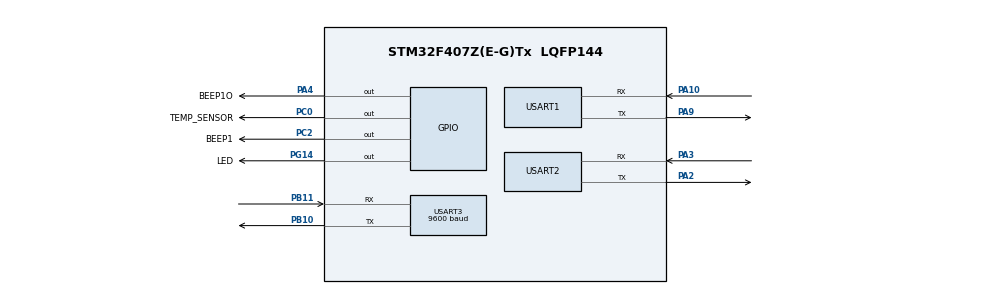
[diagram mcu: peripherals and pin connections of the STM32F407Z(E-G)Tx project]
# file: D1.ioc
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Mcu.Family=STM32F4
Mcu.Name=STM32F407Z(E-G)Tx
Mcu.Package=LQFP144
NVIC.PriorityGroup=NVIC_PRIORITYGROUP_4
NVIC.USART1_IRQn=true\:0\:0\:false\:false\:true\:true\:true
NVIC.USART3_IRQn=true\:0\:0\:false\:false\:true\:true\:true
PA10.Mode=Asynchronous
PA10.Signal=USART1_RX
PA13.Mode=Serial_Wire
PA13.Signal=SYS_JTMS-SWDIO
PA14.Mode=Serial_Wire
PA14.Signal=SYS_JTCK-SWCLK
PA2.Mode=Asynchronous
PA2.Signal=USART2_TX
PA3.Mode=Asynchronous
PA3.Signal=USART2_RX
PA4.GPIO_Label=BEEP1O
PA4.GPIO_ModeDefaultOutputPP=GPIO_MODE_OUTPUT_PP
PA4.GPIO_PuPd=GPIO_PULLUP
PA4.PinState=GPIO_PIN_SET
PA4.Signal=GPIO_Output
PA9.Mode=Asynchronous
PA9.Signal=USART1_TX
PB10.Mode=Asynchronous
PB10.Signal=USART3_TX
PB11.Mode=Asynchronous
PB11.Signal=USART3_RX
PC0.GPIO_Label=TEMP_SENSOR
PC0.GPIO_ModeDefaultOutputPP=GPIO_MODE_OUTPUT_PP
PC0.GPIO_PuPd=GPIO_PULLDOWN
PC0.GPIO_Speed=GPIO_SPEED_FREQ_HIGH
PC0.PinState=GPIO_PIN_SET
PC0.Signal=GPIO_Output
PC2.GPIO_Label=BEEP1
PC2.GPIO_PuPd=GPIO_PULLDOWN
PC2.PinState=GPIO_PIN_SET
PC2.Signal=GPIO_Output
PG14.GPIO_Label=LED
PG14.GPIO_PuPd=GPIO_PULLUP
PG14.GPIO_Speed=GPIO_SPEED_FREQ_MEDIUM
PG14.PinState=GPIO_PIN_SET
PG14.Signal=GPIO_Output
PH0-OSC_IN.Mode=HSE-External-Oscillator
PH0-OSC_IN.Signal=RCC_OSC_IN
PH1-OSC_OUT.Mode=HSE-External-Oscillator
PH1-OSC_OUT.Signal=RCC_OSC_OUT
ProjectManager.HeapSize=0x200
ProjectManager.StackSize=0x400
ProjectManager.TargetToolchain=SW4STM32
RCC.48MHZClocksFreq_Value=84000000
RCC.AHBFreq_Value=168000000
RCC.APB1CLKDivider=RCC_HCLK_DIV4
RCC.APB1Freq_Value=42000000
RCC.APB1TimFreq_Value=84000000
RCC.APB2CLKDivider=RCC_HCLK_DIV2
RCC.APB2Freq_Value=84000000
RCC.APB2TimFreq_Value=168000000
RCC.CortexFreq_Value=168000000
RCC.HCLKFreq_Value=168000000
RCC.HSE_VALUE=25000000
RCC.HSI_VALUE=16000000
RCC.LSE_VALUE=32768
RCC.PLLM=8
RCC.PLLN=168
RCC.SYSCLKFreq_VALUE=168000000
RCC.SYSCLKSource=RCC_SYSCLKSOURCE_PLLCLK
RCC.VCOOutputFreq_Value=336000000
TIM1.Prescaler=83
USART1.VirtualMode=VM_ASYNC
USART2.VirtualMode=VM_ASYNC
USART3.BaudRate=9600
USART3.VirtualMode=VM_ASYNC
VP_TIM1_VS_ClockSourceINT.Mode=Internal
board=custom

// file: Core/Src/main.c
/* USER CODE BEGIN Header */
/**
  ******************************************************************************
  * @file           : main.c
  * @brief          : Main program body
  ******************************************************************************
  * @attention
  *
  * <h2><center>&copy; Copyright (c) 2021 STMicroelectronics.
  * All rights reserved.</center></h2>
  *
  * This software component is licensed by ST under BSD 3-Clause license,
  * the "License"; You may not use this file except in compliance with the
  * License. You may obtain a copy of the License at:
  *                        opensource.org/licenses/BSD-3-Clause
  *
  ******************************************************************************
  */
/* USER CODE END Header */
#include "main.h"
#include "tim.h"
#include "usart.h"
#include "gpio.h"

/* USER CODE BEGIN Includes */
#include"../ds18b20/bsp_ds18b20.h"
#include "../stdlog/stdlog.h"
#include "string.h"
/* USER CODE END Includes */

/* USER CODE BEGIN PV */
uint8_t buf;
/* USER CODE END PV */

void SystemClock_Config(void);

/* USER CODE BEGIN 0 */
uint8_t ds18b20_id;
float abc=0;
/* USER CODE END 0 */

int main(void)
{

  /* MCU Configuration--------------------------------------------------------*/

  /* Reset of all peripherals, Initializes the Flash interface and the Systick. */
  HAL_Init();

  /* Configure the system clock */
  SystemClock_Config();

  /* Initialize all configured peripherals */
  MX_GPIO_Init();
  MX_USART1_UART_Init();
  MX_USART2_UART_Init();
  MX_TIM1_Init();
  MX_USART3_UART_Init();
  /* USER CODE BEGIN 2 */
   DS18B20_Init();
    initLogger(&huart1);
    DS18B20_ReadId(&ds18b20_id);
    HAL_UART_Receive_IT(&huart3,&buf,1);
  /* USER CODE END 2 */

  /* Infinite loop */
  /* USER CODE BEGIN WHILE */
  while (1)
  {
      char c[10]={0};
      sprintf(c,"%d",(int)abc);
      //HAL_UART_Transmit(&huart3,'a',1,0xff);
      HAL_UART_Transmit(&huart3,c,strlen(c)+1,0xff);
      HAL_GPIO_TogglePin(LED_GPIO_Port, LED_Pin);
      abc = DS18B20_GetTemp_MatchRom(&ds18b20_id);
      log_inf("%d", (int) abc);
        HAL_Delay(1000);
    /* USER CODE END WHILE */

  }
}

void SystemClock_Config(void)
{
  LL_FLASH_SetLatency(LL_FLASH_LATENCY_5);
  while(LL_FLASH_GetLatency()!= LL_FLASH_LATENCY_5)
  {
  }
  LL_PWR_SetRegulVoltageScaling(LL_PWR_REGU_VOLTAGE_SCALE1);
  LL_RCC_HSI_SetCalibTrimming(16);
  LL_RCC_HSI_Enable();

   /* Wait till HSI is ready */
  while(LL_RCC_HSI_IsReady() != 1)
  {

  }
  LL_RCC_PLL_ConfigDomain_SYS(LL_RCC_PLLSOURCE_HSI, LL_RCC_PLLM_DIV_8, 168, LL_RCC_PLLP_DIV_2);
  LL_RCC_PLL_Enable();

   /* Wait till PLL is ready */
  while(LL_RCC_PLL_IsReady() != 1)
  {

  }
  LL_RCC_SetAHBPrescaler(LL_RCC_SYSCLK_DIV_1);
  LL_RCC_SetAPB1Prescaler(LL_RCC_APB1_DIV_4);
  LL_RCC_SetAPB2Prescaler(LL_RCC_APB2_DIV_2);
  LL_RCC_SetSysClkSource(LL_RCC_SYS_CLKSOURCE_PLL);

   /* Wait till System clock is ready */
  while(LL_RCC_GetSysClkSource() != LL_RCC_SYS_CLKSOURCE_STATUS_PLL)
  {

  }
  LL_SetSystemCoreClock(168000000);

   /* Update the time base */
  if (HAL_InitTick (TICK_INT_PRIORITY) != HAL_OK)
  {
    Error_Handler();
  }
}

/* USER CODE BEGIN 4 */
void HAL_UART_RxCpltCallback(UART_HandleTypeDef *huart){
    printf("%c",buf);
    HAL_UART_Receive_IT(&huart3,&buf,1);
}

/* USER CODE END 4 */

void Error_Handler(void)
{
  /* USER CODE BEGIN Error_Handler_Debug */
  /* User can add his own implementation to report the HAL error return state */
  __disable_irq();
  while (1)
  {
      HAL_UART_Transmit(&huart1,"123",4,0xff);
  }
  /* USER CODE END Error_Handler_Debug */
}

/************************ (C) COPYRIGHT STMicroelectronics *****END OF FILE****/
